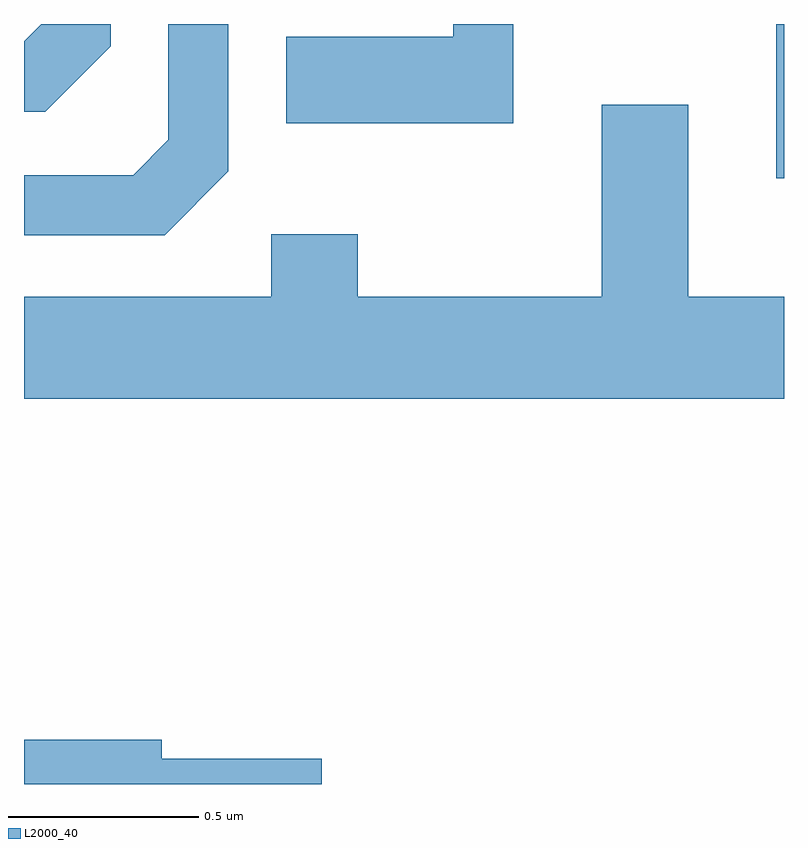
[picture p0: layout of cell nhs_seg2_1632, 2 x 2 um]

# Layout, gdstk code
import gdstk
lib = gdstk.Library(unit=1e-6, precision=1e-09)
def R(c, l, rs):  # rectangles x0, y0, x1, y1
    for r in rs: c.add(gdstk.rectangle(r[:2], r[2:], *l))
def P(c, l, *ps):  # polygons
    for p in ps: c.add(gdstk.Polygon(p, *l))
L2000_40 = (2000, 40)

nhs_seg2_1632 = lib.new_cell('nhs_seg2_1632')
R(nhs_seg2_1632, L2000_40, [(198.591,1104.396,198.611,1104.802)])
P(nhs_seg2_1632, L2000_40, [(196.839,1104.744),(196.839,1104.802),(196.656,1104.802),(196.611,1104.756),(196.611,1104.571),(196.667,1104.571)],
  [(197.149,1104.414),(197.149,1104.802),(196.991,1104.802),(196.991,1104.497),(196.899,1104.404),(196.611,1104.404),(196.611,1104.246),(196.982,1104.246)],
  [(197.899,1104.802),(197.741,1104.802),(197.741,1104.769),(197.301,1104.769),(197.301,1104.541),(197.899,1104.541)],
  [(198.611,1104.084),(198.359,1104.084),(198.359,1104.589),(198.131,1104.589),(198.131,1104.084),(197.489,1104.084),(197.489,1104.249),(197.261,1104.249),(197.261,1104.084),(196.611,1104.084),(196.611,1103.816),(198.611,1103.816)],
  [(197.394,1102.869),(196.974,1102.869),(196.974,1102.919),(196.611,1102.919),(196.611,1102.802),(197.394,1102.802)])

lib.write_gds('nhs_seg2_1632.gds')
